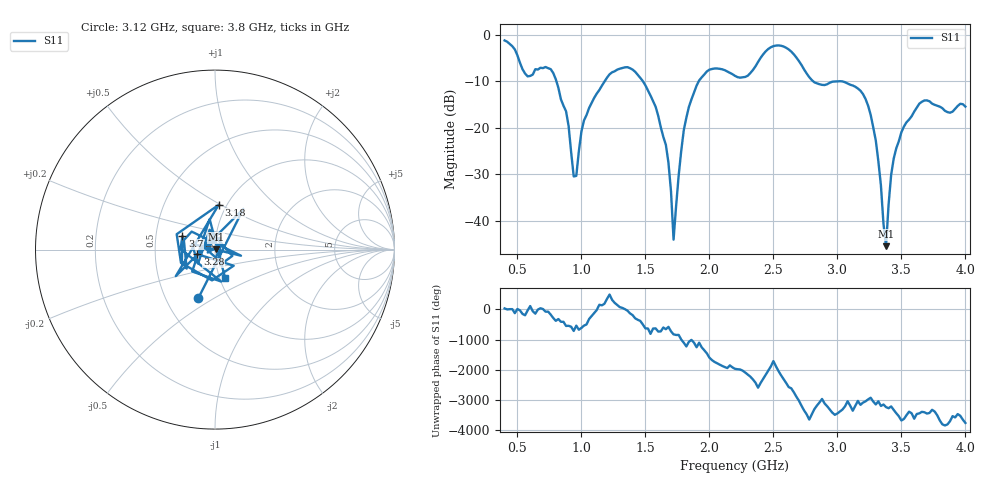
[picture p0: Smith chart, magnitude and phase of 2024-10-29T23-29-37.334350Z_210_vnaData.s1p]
!Created with skrf (http://scikit-rf.org).
# Hz S RI R 50.0
!freq ReS11 ImS11
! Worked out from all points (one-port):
!   181 points, 400 MHz to 4 GHz, reference 50 ohm
!   lowest |S11| = -45.5 dB at 3.38 GHz (marker M1), VSWR 1.01, Z = 50.5 + j0.0952 ohm
!   |S11| at or under -10 dB: 804.5 MHz to 1.182 GHz (377.7 MHz wide, 38 % of centre); 1.48 GHz to 1.917 GHz (436.8 MHz wide, 25.7 % of centre); 2.81 GHz to end of sweep
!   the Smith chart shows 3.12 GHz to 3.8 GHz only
!   S11 on the Smith chart (normalised r, x): 3.12 GHz: 0.73, -0.43; 3.18 GHz: 0.92, +0.49; 3.28 GHz: 0.82, -0.04; 3.7 GHz: 0.69, +0.11; 3.8 GHz: 1.06, -0.35
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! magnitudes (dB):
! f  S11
! 400 MHz  -1.2
! 580 MHz  -9.0
! 760 MHz  -7.4
! 860 MHz  -15.3
! 940 MHz  -30.5
! 960 MHz  -30.4
! 1.02 GHz  -18.4
! 1.3 GHz  -7.3
! 1.58 GHz  -15.5
! 1.68 GHz  -27.5
! 1.72 GHz  -44.1
! 1.76 GHz  -30.3
! 1.82 GHz  -17.8
! 1.92 GHz  -9.8
! 2.2 GHz  -8.9
! 2.5 GHz  -2.5
! 2.66 GHz  -4.2
! 2.82 GHz  -10.2
! 3.1 GHz  -10.8
! 3.12 GHz  -10.9
! 3.18 GHz  -12.0
! 3.28 GHz  -19.9
! 3.38 GHz  -45.5
! 3.44 GHz  -26.6
! 3.56 GHz  -18.3
! 3.7 GHz  -14.1
! 3.8 GHz  -15.5
! 4 GHz  -15.5
